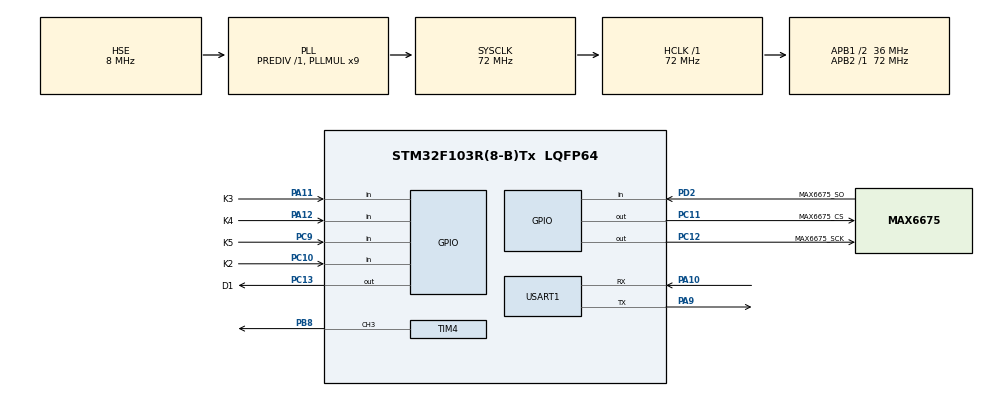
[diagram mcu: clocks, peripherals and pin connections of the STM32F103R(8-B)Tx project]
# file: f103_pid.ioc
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Mcu.Family=STM32F1
Mcu.Name=STM32F103R(8-B)Tx
Mcu.Package=LQFP64
NVIC.PriorityGroup=NVIC_PRIORITYGROUP_4
PA10.Mode=Asynchronous
PA10.Signal=USART1_RX
PA11.GPIO_Label=K3
PA11.Signal=GPIO_Input
PA12.GPIO_Label=K4
PA12.Signal=GPIO_Input
PA13.Mode=Serial_Wire
PA13.Signal=SYS_JTMS-SWDIO
PA14.Mode=Serial_Wire
PA14.Signal=SYS_JTCK-SWCLK
PA9.Mode=Asynchronous
PA9.Signal=USART1_TX
PB8.GPIO_Speed=GPIO_SPEED_FREQ_MEDIUM
PB8.Signal=S_TIM4_CH3
PC10.GPIO_Label=K2
PC10.Signal=GPIO_Input
PC11.GPIO_Label=MAX6675_CS
PC11.GPIO_Speed=GPIO_SPEED_FREQ_MEDIUM
PC11.Signal=GPIO_Output
PC12.GPIO_Label=MAX6675_SCK
PC12.GPIO_Speed=GPIO_SPEED_FREQ_MEDIUM
PC12.Signal=GPIO_Output
PC13-TAMPER-RTC.GPIO_Label=D1
PC13-TAMPER-RTC.GPIO_ModeDefaultOutputPP=GPIO_MODE_OUTPUT_PP
PC13-TAMPER-RTC.GPIO_PuPd=GPIO_NOPULL
PC13-TAMPER-RTC.PinState=GPIO_PIN_SET
PC13-TAMPER-RTC.Signal=GPIO_Output
PC9.GPIO_Label=K5
PC9.Signal=GPIO_Input
PD0-OSC_IN.Mode=HSE-External-Oscillator
PD0-OSC_IN.Signal=RCC_OSC_IN
PD1-OSC_OUT.Mode=HSE-External-Oscillator
PD1-OSC_OUT.Signal=RCC_OSC_OUT
PD2.GPIO_Label=MAX6675_SO
PD2.Signal=GPIO_Input
ProjectManager.HeapSize=0x200
ProjectManager.StackSize=0x400
ProjectManager.TargetToolchain=MDK-ARM V5
RCC.AHBFreq_Value=72000000
RCC.APB1CLKDivider=RCC_HCLK_DIV2
RCC.APB1Freq_Value=36000000
RCC.APB1TimFreq_Value=72000000
RCC.APB2Freq_Value=72000000
RCC.APB2TimFreq_Value=72000000
RCC.HCLKFreq_Value=72000000
RCC.PLLMUL=RCC_PLL_MUL9
RCC.PLLSourceVirtual=RCC_PLLSOURCE_HSE
RCC.SYSCLKFreq_VALUE=72000000
RCC.SYSCLKSource=RCC_SYSCLKSOURCE_PLLCLK
RCC.USBFreq_Value=72000000
SH.S_TIM4_CH3.0=TIM4_CH3,PWM Generation3 CH3
TIM4.Channel-PWM\ Generation3\ CH3=TIM_CHANNEL_3
TIM4.Period=20000-1
TIM4.Prescaler=7200-1
USART1.VirtualMode=VM_ASYNC
board=custom

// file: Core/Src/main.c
/* USER CODE BEGIN Header */
/**
  ******************************************************************************
  * @file           : main.c
  * @brief          : Main program body
  ******************************************************************************
  * @attention
  *
  * <h2><center>&copy; Copyright (c) 2020 STMicroelectronics.
  * All rights reserved.</center></h2>
  *
  * This software component is licensed by ST under BSD 3-Clause license,
  * the "License"; You may not use this file except in compliance with the
  * License. You may obtain a copy of the License at:
  *                        opensource.org/licenses/BSD-3-Clause
  *
  ******************************************************************************
  */
/* USER CODE END Header */
#include "main.h"
#include "tim.h"
#include "usart.h"
#include "gpio.h"

/* USER CODE BEGIN Includes */
#include "usart.h"
#include "max6675.h"
#include "tim.h"
#include "stm32f103xb.h"
#include "pid.h"
/* USER CODE END Includes */

/* USER CODE BEGIN PD */
#define k2		  HAL_GPIO_ReadPin(K2_GPIO_Port,K2_Pin)
#define k3		  HAL_GPIO_ReadPin(K3_GPIO_Port,K3_Pin)
#define k4		  HAL_GPIO_ReadPin(K4_GPIO_Port,K4_Pin)
#define k5		  HAL_GPIO_ReadPin(K5_GPIO_Port,K5_Pin)
#define PWM_MAX 	19999			//PWM最大值
#define SET_TEMPER	4200
/* USER CODE END PD */

/* USER CODE BEGIN PM */
PID pid;
uint16_t temper_buff[5];
uint32_t temper_long;
/* USER CODE END PM */

void SystemClock_Config(void);

/* USER CODE BEGIN 0 */
//将数组从小到大排序
//*******************************************************************************************
void sort(uint16_t a[],uint8_t n)
{
    uint16_t temp;
	uint8_t i,j;
    for(i=0;i<n-1;i++)		//i<n-1是因为数组的最后一位已经在之前的运算中接受了排序。
    {
        for(j=i+1;j<n;j++)
        {
            if(a[i]>a[j])
            {temp=a[i];a[i]=a[j];a[j]=temp;}
        }
    }
}

//-----------去掉最大和最小，求平均------------------------
uint32_t median(uint16_t a[], uint16_t n)
{
	uint32_t value_long;
	uint16_t remove=1;		//头尾各去除几个

	sort(a, n);
	value_long = 0;
	for(uint8_t i=remove;i<(n-remove);i++)
	{
		value_long += a[i];
	}
	value_long /= (n-(remove*2));
	return value_long;
}
/* USER CODE END 0 */

int main(void)
{
    /* USER CODE BEGIN 1 */
    uint8_t i = 0;
    float temper;
    uint8_t t1 = 0, t2 = 0, t3 = 0,t4=0;
	uint8_t count = 0;
    pid.P = 20;
    pid.I = 1.3f;
    pid.D = 0;
    pid.OutputMax = 19999.0f;	//设置PWM停止输出的脉宽值
	pid.IntegralMax = 2.0f;
	pid.OutputMin = 0;
	uint16_t temper_int;
	float pwm_pid;
	uint16_t pwm_val;
	uint8_t switch_power=1;		//加热开关
    /* USER CODE END 1 */

    /* MCU Configuration--------------------------------------------------------*/

    /* Reset of all peripherals, Initializes the Flash interface and the Systick. */
    HAL_Init();

    /* Configure the system clock */
    SystemClock_Config();

    /* Initialize all configured peripherals */
    MX_GPIO_Init();
    MX_USART1_UART_Init();
    MX_TIM4_Init();
    /* USER CODE BEGIN 2 */
	pwm_val = PWM_MAX - PWM_MAX / 6;
    TIM4->CCR3 = pwm_val;
    HAL_TIM_PWM_Start(&htim4, TIM_CHANNEL_3);

    /* USER CODE END 2 */

    /* Infinite loop */
    /* USER CODE BEGIN WHILE */
    while (1)
    {
		if(t4++ == 20)		//200ms的周期进入一次
		{
			t4=0;
			temper = read_temper();
			temper_int = temper * 100;
			temper_buff[count++] = temper_int;
		}
		if(count == 5)
		{
			count = 0;
			temper_long = median(temper_buff,5);			//中位值滤波
		}
        if((t2++ == 100) && (switch_power))					//1s的周期进入一次
        {
            t2 = 0;
			pwm_pid = PID_Cal(&pid,temper_long,SET_TEMPER);	//目标温度：42℃
			pwm_val = PWM_MAX - (uint16_t)(pwm_pid);		//计算当前脉宽值(因为PID计算出来的值是反的)
			TIM4->CCR3 = pwm_val;							//写入pwm寄存器，执行输出
        }
        //-------key---------------
        if(k2 == GPIO_PIN_RESET)
        {
			while (k2 == GPIO_PIN_RESET);
            pid.I = pid.I-0.1f;
        }
        if(k3 == GPIO_PIN_RESET)
        {
            while (k3 == GPIO_PIN_RESET);
            pid.I = pid.I+0.1f;
        }
        if(k4 == GPIO_PIN_RESET)
        {
            while (k4 == GPIO_PIN_RESET);
            TIM4->CCR3 = PWM_MAX;
			switch_power = !switch_power;	//开关量取反
        }

        if(t1++ == 10)		//100ms的周期进入一次
        {
            t1 = 0;
            HAL_GPIO_TogglePin(D1_GPIO_Port, D1_Pin);
        }
		if(t3++ == 100)		//1s的周期进入一次
		{
			t3 = 0;
			printf("i=%d temper=%d℃ pwm_val=%d KI=%f \r\n", i++, (uint16_t)temper_long,pwm_val,pid.I);
		}
        HAL_Delay(10);
        /* USER CODE END WHILE */

    }
}

void SystemClock_Config(void)
{
    RCC_OscInitTypeDef RCC_OscInitStruct = {0};
    RCC_ClkInitTypeDef RCC_ClkInitStruct = {0};

    /** Initializes the RCC Oscillators according to the specified parameters
    * in the RCC_OscInitTypeDef structure.
    */
    RCC_OscInitStruct.OscillatorType = RCC_OSCILLATORTYPE_HSE;
    RCC_OscInitStruct.HSEState = RCC_HSE_ON;
    RCC_OscInitStruct.HSEPredivValue = RCC_HSE_PREDIV_DIV1;
    RCC_OscInitStruct.HSIState = RCC_HSI_ON;
    RCC_OscInitStruct.PLL.PLLState = RCC_PLL_ON;
    RCC_OscInitStruct.PLL.PLLSource = RCC_PLLSOURCE_HSE;
    RCC_OscInitStruct.PLL.PLLMUL = RCC_PLL_MUL9;
    if (HAL_RCC_OscConfig(&RCC_OscInitStruct) != HAL_OK)
    {
        Error_Handler();
    }
    /** Initializes the CPU, AHB and APB buses clocks
    */
    RCC_ClkInitStruct.ClockType = RCC_CLOCKTYPE_HCLK | RCC_CLOCKTYPE_SYSCLK
                                  | RCC_CLOCKTYPE_PCLK1 | RCC_CLOCKTYPE_PCLK2;
    RCC_ClkInitStruct.SYSCLKSource = RCC_SYSCLKSOURCE_PLLCLK;
    RCC_ClkInitStruct.AHBCLKDivider = RCC_SYSCLK_DIV1;
    RCC_ClkInitStruct.APB1CLKDivider = RCC_HCLK_DIV2;
    RCC_ClkInitStruct.APB2CLKDivider = RCC_HCLK_DIV1;

    if (HAL_RCC_ClockConfig(&RCC_ClkInitStruct, FLASH_LATENCY_2) != HAL_OK)
    {
        Error_Handler();
    }
}

void Error_Handler(void)
{
}

/************************ (C) COPYRIGHT STMicroelectronics *****END OF FILE****/
